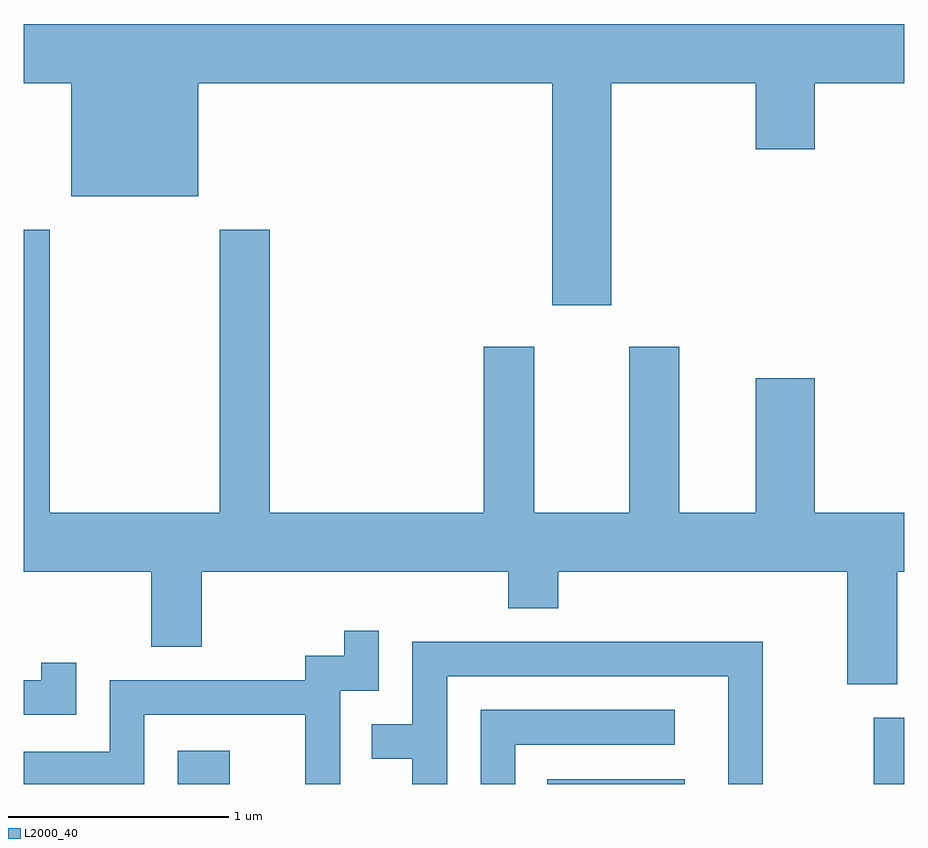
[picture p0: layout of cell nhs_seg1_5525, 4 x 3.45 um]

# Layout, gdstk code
import gdstk
lib = gdstk.Library(unit=1e-6, precision=1e-09)
def R(c, l, rs):  # rectangles x0, y0, x1, y1
    for r in rs: c.add(gdstk.rectangle(r[:2], r[2:], *l))
def P(c, l, *ps):  # polygons
    for p in ps: c.add(gdstk.Polygon(p, *l))
L2000_40 = (2000, 40)

nhs_seg1_5525 = lib.new_cell('nhs_seg1_5525')
R(nhs_seg1_5525, L2000_40, [(352.311,909.712,352.548,909.864), (353.988,909.712,354.614,909.734), (355.471,909.712,355.611,910.014)])
P(nhs_seg1_5525, L2000_40, [(351.611,912.896),(351.826,912.896),(351.826,912.381),(352.404,912.381),(352.404,912.896),(354.011,912.896),(354.011,911.886),(354.279,911.886),(354.279,912.896),(354.936,912.896),(354.936,912.596),(355.204,912.596),(355.204,912.896),(355.611,912.896),(355.611,913.164),(351.611,913.164)],
  [(355.351,910.166),(355.579,910.166),(355.579,910.676),(355.611,910.676),(355.611,910.944),(355.204,910.944),(355.204,911.554),(354.936,911.554),(354.936,910.944),(354.589,910.944),(354.589,911.699),(354.361,911.699),(354.361,910.944),(353.929,910.944),(353.929,911.699),(353.701,911.699),(353.701,910.944),(352.729,910.944),(352.729,912.229),(352.501,912.229),(352.501,910.944),(351.729,910.944),(351.729,912.229),(351.611,912.229),(351.611,910.676),(352.191,910.676),(352.191,910.336),(352.419,910.336),(352.419,910.676),(353.811,910.676),(353.811,910.511),(354.039,910.511),(354.039,910.676),(355.351,910.676)],
  [(352.159,910.026),(352.891,910.026),(352.891,909.712),(353.049,909.712),(353.049,910.136),(353.224,910.136),(353.224,910.408),(353.066,910.408),(353.066,910.294),(352.891,910.294),(352.891,910.184),(352.001,910.184),(352.001,909.859),(351.611,909.859),(351.611,909.712),(352.159,909.712)],
  [(353.534,910.201),(354.811,910.201),(354.811,909.712),(354.969,909.712),(354.969,910.359),(353.376,910.359),(353.376,909.984),(353.193,909.984),(353.193,909.826),(353.376,909.826),(353.376,909.712),(353.534,909.712)],
  [(351.849,910.263),(351.691,910.263),(351.691,910.184),(351.611,910.184),(351.611,910.026),(351.849,910.026)],
  [(353.844,909.891),(354.568,909.891),(354.568,910.049),(353.686,910.049),(353.686,909.712),(353.844,909.712)])

lib.write_gds('nhs_seg1_5525.gds')
